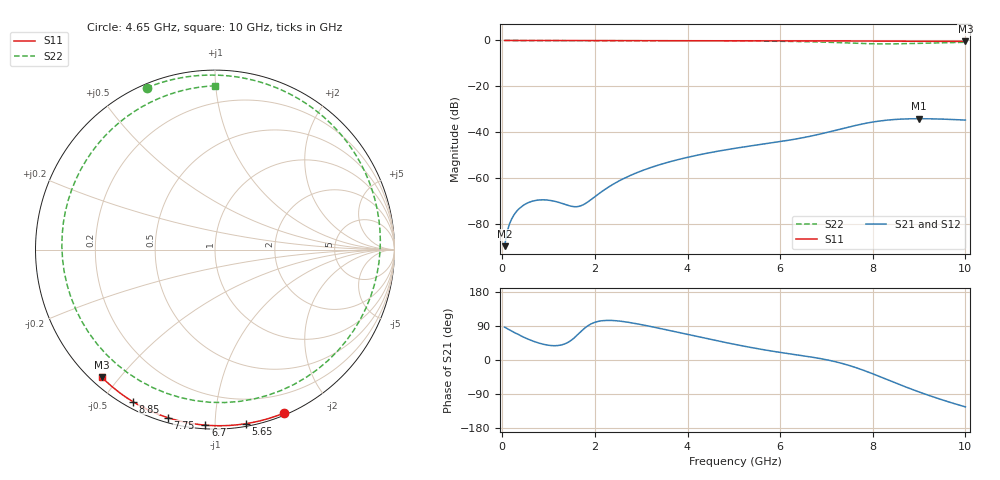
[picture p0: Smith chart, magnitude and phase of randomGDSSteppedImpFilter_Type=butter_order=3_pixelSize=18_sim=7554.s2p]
! freq	dB(S11)	phase(S11)	dB(S12)	phase(S12)
!  dB(S21)	phase(S21)	dB(S22)	phase(S22)
!S-par simulation data
#  GHz  S  DB  R 50
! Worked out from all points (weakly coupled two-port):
!   200 points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, 50 MHz to 10 GHz, reference 50 ohm
!   highest |S21| = -34.19 dB at 9 GHz (marker M1); lowest = -89.9 dB at 50 MHz (marker M2)
!   lowest |S11| = -0.4 dB at 10 GHz (marker M3), VSWR 39.15, Z = 1.54 - j22.5 ohm
!   |S11| at or under -10 dB: nowhere
!   |S22| runs from -1.5 to 0.0 dB; largest |S21 - S12| = 0
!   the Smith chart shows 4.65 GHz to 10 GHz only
!   S11 on the Smith chart (normalised r, x): 4.65 GHz: 0.02, -1.51; 5.65 GHz: 0.02, -1.19; 6.7 GHz: 0.02, -0.95; 7.75 GHz: 0.02, -0.76; 8.85 GHz: 0.03, -0.60; 10 GHz: 0.03, -0.45
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0.05  -0.00 -0.8  -89.88 86.6  -89.88 86.6  -0.00 -6.2
0.15  -0.00 -2.3  -80.47 79.8  -80.47 79.8  -0.03 -18.5
0.4  -0.01 -6.1  -72.88 63.8  -72.88 63.8  -0.06 -47.4
0.75  -0.01 -11.3  -69.80 46.2  -69.80 46.2  -0.09 -82.1
1.25  -0.02 -18.8  -70.93 39.0  -70.93 39.0  -0.10 -119.4
1.75  -0.03 -26.2  -71.76 81.0  -71.76 81.0  -0.10 -146.4
2.5  -0.05 -37.1  -61.61 103.1  -61.61 103.1  -0.11 -176.9
3.4  -0.07 -49.9  -54.27 83.4  -54.27 83.4  -0.13 153.2
4.65  -0.10 -67.0  -48.40 50.5  -48.40 50.5  -0.19 112.9
5.05  -0.11 -72.2  -47.04 40.5  -47.04 40.5  -0.22 98.7
5.65  -0.13 -80.0  -45.23 27.0  -45.23 27.0  -0.30 74.6
6.2  -0.16 -86.9  -43.54 16.4  -43.54 16.4  -0.41 47.9
6.7  -0.18 -93.1  -41.63 7.2  -41.63 7.2  -0.59 17.6
7.25  -0.21 -99.8  -38.99 -6.3  -38.99 -6.3  -0.93 -25.7
7.75  -0.24 -105.7  -36.59 -24.9  -36.59 -24.9  -1.31 -75.6
8.05  -0.26 -109.2  -35.48 -38.8  -35.48 -38.8  -1.46 -108.6
8.35  -0.29 -112.7  -34.73 -53.6  -34.73 -53.6  -1.50 -141.3
8.6  -0.31 -115.6  -34.37 -65.8  -34.37 -65.8  -1.44 -166.7
8.85  -0.33 -118.5  -34.21 -77.6  -34.21 -77.6  -1.33 170.1
9  -0.34 -120.2  -34.19 -84.4  -34.19 -84.4  -1.26 157.3
9.5  -0.39 -125.8  -34.37 -105.2  -34.37 -105.2  -1.00 120.3
10  -0.44 -131.5  -34.79 -123.8  -34.79 -123.8  -0.79 89.9
